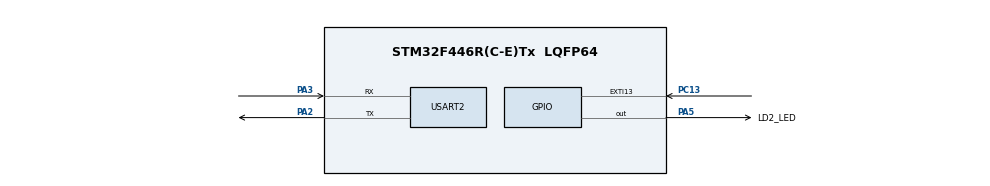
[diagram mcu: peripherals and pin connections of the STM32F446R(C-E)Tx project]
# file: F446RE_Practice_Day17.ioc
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Mcu.Family=STM32F4
Mcu.Name=STM32F446R(C-E)Tx
Mcu.Package=LQFP64
NVIC.EXTI15_10_IRQn=true\:0\:0\:false\:false\:true\:true\:true\:true
NVIC.PriorityGroup=NVIC_PRIORITYGROUP_4
PA13.Mode=Serial_Wire
PA13.Signal=SYS_JTMS-SWDIO
PA14.Mode=Serial_Wire
PA14.Signal=SYS_JTCK-SWCLK
PA2.Mode=Asynchronous
PA2.Signal=USART2_TX
PA3.Mode=Asynchronous
PA3.Signal=USART2_RX
PA5.GPIO_Label=LD2_LED
PA5.Signal=GPIO_Output
PC13.GPIO_ModeDefaultEXTI=GPIO_MODE_IT_FALLING
PC13.Signal=GPXTI13
ProjectManager.HeapSize=0x200
ProjectManager.StackSize=0x400
ProjectManager.TargetToolchain=STM32CubeIDE
RCC.CortexFreq_Value=16000000
RCC.USBFreq_Value=96000000
RCC.VCOOutputFreq_Value=192000000
USART2.VirtualMode=VM_ASYNC
board=custom

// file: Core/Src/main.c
/* USER CODE BEGIN Header */
/**
  ******************************************************************************
  * @file           : main.c
  * @brief          : Main program body
  ******************************************************************************
  * @attention
  *
  * Copyright (c) 2026 STMicroelectronics.
  * All rights reserved.
  *
  * This software is licensed under terms that can be found in the LICENSE file
  * in the root directory of this software component.
  * If no LICENSE file comes with this software, it is provided AS-IS.
  *
  ******************************************************************************
  */
/* USER CODE END Header */
#include "main.h"

/* USER CODE BEGIN Includes */

#include <stdint.h>

/* USER CODE END Includes */

UART_HandleTypeDef huart2;

/* USER CODE BEGIN PV */

#define VECTOR_TABLE_WORDS   128U
#define BUTTON_VECTOR_INDEX  \
    (16U + (uint32_t)EXTI15_10_IRQn)

/*
 * 128 Words × 4 Bytes = 512 Bytes。
 * 使用 512-byte alignment，確保 VTOR 對齊安全。
 */
static uint32_t ram_vector_table[VECTOR_TABLE_WORDS]
    __attribute__((aligned(512)));

volatile uint32_t handler_a_count = 0U;
volatile uint32_t handler_b_count = 0U;
volatile uint32_t active_handler = 0U;

volatile uint32_t old_vtor_address = 0U;
volatile uint32_t new_vtor_address = 0U;
volatile uint32_t button_vector_value = 0U;

/* USER CODE END PV */

void SystemClock_Config(void);
static void MX_GPIO_Init(void);
static void MX_USART2_UART_Init(void);
/* USER CODE BEGIN PFP */

void Button_IRQHandler_A(void);
void Button_IRQHandler_B(void);

static void VectorTable_RelocateToRAM(void);

/* USER CODE END PFP */

/* USER CODE BEGIN 0 */

static void VectorTable_RelocateToRAM(void)
{
    uint32_t primask = __get_PRIMASK();

    __disable_irq();

    old_vtor_address = SCB->VTOR;

    const uint32_t *source_table =
        (const uint32_t *)(uintptr_t)SCB->VTOR;

    /*
     * 將目前正在使用的 Vector Table 複製到 SRAM。
     */
    for (uint32_t i = 0U;
         i < VECTOR_TABLE_WORDS;
         i++)
    {
        ram_vector_table[i] = source_table[i];
    }

    /*
     * 把 EXTI15_10 的 Entry 改成自訂 Handler A。
     */
    ram_vector_table[BUTTON_VECTOR_INDEX] =
        (uint32_t)(uintptr_t)Button_IRQHandler_A;

    /*
     * VTOR 改指向 SRAM Vector Table。
     */
    SCB->VTOR =
        (uint32_t)(uintptr_t)ram_vector_table;

    /*
     * 確保前面的記憶體寫入與指令狀態已同步。
     */
    __DSB();
    __ISB();

    new_vtor_address = SCB->VTOR;

    button_vector_value =
        ram_vector_table[BUTTON_VECTOR_INDEX];

    active_handler = 1U;

    /*
     * 清除可能已經存在的 EXTI／NVIC Pending 狀態。
     */
    __HAL_GPIO_EXTI_CLEAR_IT(GPIO_PIN_13);
    NVIC_ClearPendingIRQ(EXTI15_10_IRQn);

    if (primask == 0U)
    {
        __enable_irq();
    }
}

/* USER CODE END 0 */

int main(void)
{

  /* MCU Configuration--------------------------------------------------------*/

  /* Reset of all peripherals, Initializes the Flash interface and the Systick. */
  HAL_Init();

  /* Configure the system clock */
  SystemClock_Config();

  /* Initialize all configured peripherals */
  MX_GPIO_Init();
  MX_USART2_UART_Init();
  /* USER CODE BEGIN 2 */

  VectorTable_RelocateToRAM();

  /* USER CODE END 2 */

  /* Infinite loop */
  while (1)
  {

  }
}

void SystemClock_Config(void)
{
  RCC_OscInitTypeDef RCC_OscInitStruct = {0};
  RCC_ClkInitTypeDef RCC_ClkInitStruct = {0};

  /** Configure the main internal regulator output voltage
  */
  __HAL_RCC_PWR_CLK_ENABLE();
  __HAL_PWR_VOLTAGESCALING_CONFIG(PWR_REGULATOR_VOLTAGE_SCALE3);

  /** Initializes the RCC Oscillators according to the specified parameters
  * in the RCC_OscInitTypeDef structure.
  */
  RCC_OscInitStruct.OscillatorType = RCC_OSCILLATORTYPE_HSI;
  RCC_OscInitStruct.HSIState = RCC_HSI_ON;
  RCC_OscInitStruct.HSICalibrationValue = RCC_HSICALIBRATION_DEFAULT;
  RCC_OscInitStruct.PLL.PLLState = RCC_PLL_NONE;
  if (HAL_RCC_OscConfig(&RCC_OscInitStruct) != HAL_OK)
  {
    Error_Handler();
  }

  /** Initializes the CPU, AHB and APB buses clocks
  */
  RCC_ClkInitStruct.ClockType = RCC_CLOCKTYPE_HCLK|RCC_CLOCKTYPE_SYSCLK
                              |RCC_CLOCKTYPE_PCLK1|RCC_CLOCKTYPE_PCLK2;
  RCC_ClkInitStruct.SYSCLKSource = RCC_SYSCLKSOURCE_HSI;
  RCC_ClkInitStruct.AHBCLKDivider = RCC_SYSCLK_DIV1;
  RCC_ClkInitStruct.APB1CLKDivider = RCC_HCLK_DIV1;
  RCC_ClkInitStruct.APB2CLKDivider = RCC_HCLK_DIV1;

  if (HAL_RCC_ClockConfig(&RCC_ClkInitStruct, FLASH_LATENCY_0) != HAL_OK)
  {
    Error_Handler();
  }
}

static void MX_USART2_UART_Init(void)
{

  huart2.Instance = USART2;
  huart2.Init.BaudRate = 115200;
  huart2.Init.WordLength = UART_WORDLENGTH_8B;
  huart2.Init.StopBits = UART_STOPBITS_1;
  huart2.Init.Parity = UART_PARITY_NONE;
  huart2.Init.Mode = UART_MODE_TX_RX;
  huart2.Init.HwFlowCtl = UART_HWCONTROL_NONE;
  huart2.Init.OverSampling = UART_OVERSAMPLING_16;
  if (HAL_UART_Init(&huart2) != HAL_OK)
  {
    Error_Handler();
  }

}

static void MX_GPIO_Init(void)
{
  GPIO_InitTypeDef GPIO_InitStruct = {0};

  /* GPIO Ports Clock Enable */
  __HAL_RCC_GPIOC_CLK_ENABLE();
  __HAL_RCC_GPIOA_CLK_ENABLE();

  /*Configure GPIO pin Output Level */
  HAL_GPIO_WritePin(LD2_LED_GPIO_Port, LD2_LED_Pin, GPIO_PIN_RESET);

  /*Configure GPIO pin : PC13 */
  GPIO_InitStruct.Pin = GPIO_PIN_13;
  GPIO_InitStruct.Mode = GPIO_MODE_IT_FALLING;
  GPIO_InitStruct.Pull = GPIO_NOPULL;
  HAL_GPIO_Init(GPIOC, &GPIO_InitStruct);

  /*Configure GPIO pin : LD2_LED_Pin */
  GPIO_InitStruct.Pin = LD2_LED_Pin;
  GPIO_InitStruct.Mode = GPIO_MODE_OUTPUT_PP;
  GPIO_InitStruct.Pull = GPIO_NOPULL;
  GPIO_InitStruct.Speed = GPIO_SPEED_FREQ_LOW;
  HAL_GPIO_Init(LD2_LED_GPIO_Port, &GPIO_InitStruct);

  /* EXTI interrupt init*/
  HAL_NVIC_SetPriority(EXTI15_10_IRQn, 0, 0);
  HAL_NVIC_EnableIRQ(EXTI15_10_IRQn);

}

/* USER CODE BEGIN 4 */

void Button_IRQHandler_A(void)
{
    if (__HAL_GPIO_EXTI_GET_IT(GPIO_PIN_13) != 0U)
    {
        __HAL_GPIO_EXTI_CLEAR_IT(GPIO_PIN_13);

        handler_a_count++;

        /*
         * Handler A：每次按鍵都切換 LED。
         */
        GPIOA->ODR ^= GPIO_PIN_5;

        /*
         * 第三次按鍵後，動態更換下一次中斷的 Handler。
         */
        if (handler_a_count >= 3U)
        {
            ram_vector_table[BUTTON_VECTOR_INDEX] =
                (uint32_t)(uintptr_t)Button_IRQHandler_B;

            button_vector_value =
                ram_vector_table[BUTTON_VECTOR_INDEX];

            active_handler = 2U;

            __DSB();
            __ISB();
        }
    }
}

void Button_IRQHandler_B(void)
{
    if (__HAL_GPIO_EXTI_GET_IT(GPIO_PIN_13) != 0U)
    {
        __HAL_GPIO_EXTI_CLEAR_IT(GPIO_PIN_13);

        handler_b_count++;

        /*
         * Handler B：每按兩次才切換一次 LED。
         */
        if ((handler_b_count % 2U) == 0U)
        {
            GPIOA->ODR ^= GPIO_PIN_5;
        }
    }
}

/* USER CODE END 4 */

void Error_Handler(void)
{
  __disable_irq();
  while (1)
  {
  }
}
